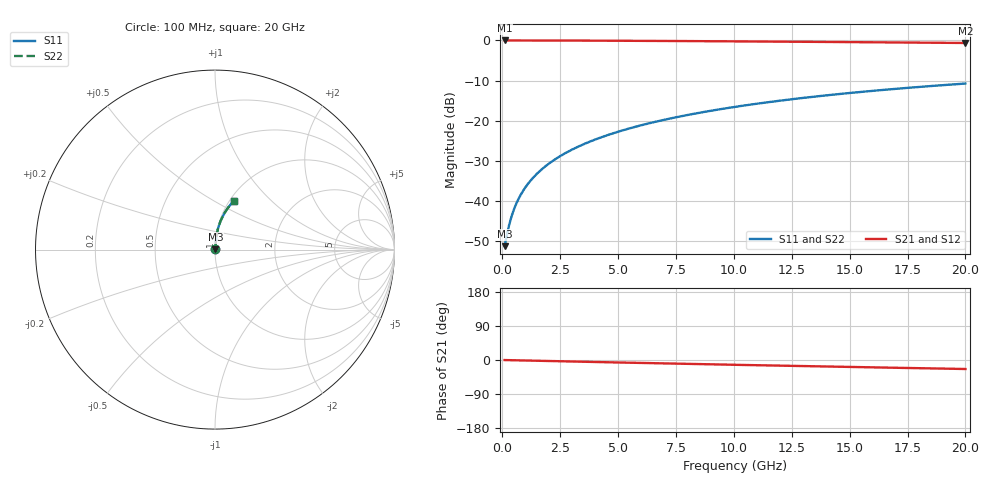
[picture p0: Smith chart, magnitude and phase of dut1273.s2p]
! Touchstone file exported from HFSS 2024.1.0
!  File:  C:/UserFiles/LocalFiles/RDL_TSV_Batchsim/temp_RDL_bottom_1273_1780246321.aedt
!  Generated:  12:54:35 AM Jun  1, 2026
!  Design:  RDL_bottom
!  Project:  temp_RDL_bottom_1273_1780246321
!  Setup:  Setup1
!  Solution:  Sweep
! Variables:
!  dtsv = 10.80580581um
!  hbump = 3um
!  htsv = 64.35um
!  ldown = 270.6um
!  lrdl = 100um
!  p = 40
!  p1 = 50.78um
!  rhole = 1um
!  t = 450um
!  tdown = 2.98um
!  trdl = 3.915915916um
!  wdown = 15.51um
!  wrdl = 20um
# GHz S MA R 50.000000
! Terminal data exported
! Port[1] = RDL1_T1
! Port[2] = RDL1_T2
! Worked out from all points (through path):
!   200 points, 100 MHz to 20 GHz, reference 50 ohm
!   highest |S21| = -0.02 dB at 100 MHz (marker M1); lowest = -0.6 dB at 20 GHz (marker M2)
!   group delay of S21, straight-line fit = 3.28 ps
!   lowest |S11| = -51.3 dB at 100 MHz (marker M3), VSWR 1.01, Z = 50.2 + j0.152 ohm
!   |S11| at or under -10 dB: start of sweep to end of sweep
!   |S22| runs from -51.3 to -10.8 dB; largest |S21 - S12| = 3.1e-15
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0.1  0.002731 33.6  0.9977 -0.1  0.9977 -0.1  0.002731 33.6
! Gamma 0 0 0 0
! Port Impedance 50 0 50 0
0.2  0.003795 52.4  0.9977 -0.3  0.9977 -0.3  0.003795 52.4
0.3  0.005075 62.1  0.9976 -0.4  0.9976 -0.4  0.005075 62.1
0.4  0.006427 67.7  0.9975 -0.5  0.9975 -0.5  0.006427 67.7
0.5  0.007805 71.3  0.9974 -0.7  0.9974 -0.7  0.007805 71.3
0.6  0.009192 73.8  0.9974 -0.8  0.9974 -0.8  0.009192 73.8
0.8  0.01198 77.1  0.9972 -1.1  0.9972 -1.1  0.01198 77.1
1.1  0.01619 79.9  0.9969 -1.5  0.9969 -1.5  0.01619 79.9
1.5  0.02185 81.9  0.9966 -2.0  0.9966 -2.0  0.02185 81.9
1.8  0.02613 82.9  0.9962 -2.4  0.9962 -2.4  0.02613 82.9
2.1  0.03042 83.5  0.9958 -2.8  0.9958 -2.8  0.03042 83.5
2.7  0.03906 84.2  0.9949 -3.6  0.9949 -3.6  0.03906 84.2
3.5  0.05069 84.5  0.9933 -4.6  0.9933 -4.6  0.05069 84.4
4.2  0.06094 84.4  0.9917 -5.5  0.9917 -5.5  0.06094 84.4
5  0.07276 84.1  0.9897 -6.5  0.9897 -6.5  0.07276 84.1
5.9  0.08615 83.6  0.987 -7.7  0.987 -7.7  0.08615 83.6
6.8  0.09962 82.9  0.9842 -8.8  0.9842 -8.8  0.09962 82.9
8.3  0.1222 81.6  0.979 -10.6  0.979 -10.6  0.1222 81.6
10.1  0.1492 79.9  0.9722 -12.7  0.9722 -12.7  0.1492 79.9
13.4  0.198 76.3  0.9586 -16.5  0.9586 -16.5  0.198 76.3
16.7  0.245 72.6  0.944 -20.2  0.944 -20.2  0.245 72.6
20  0.2899 68.9  0.9283 -23.7  0.9283 -23.7  0.2898 68.9
